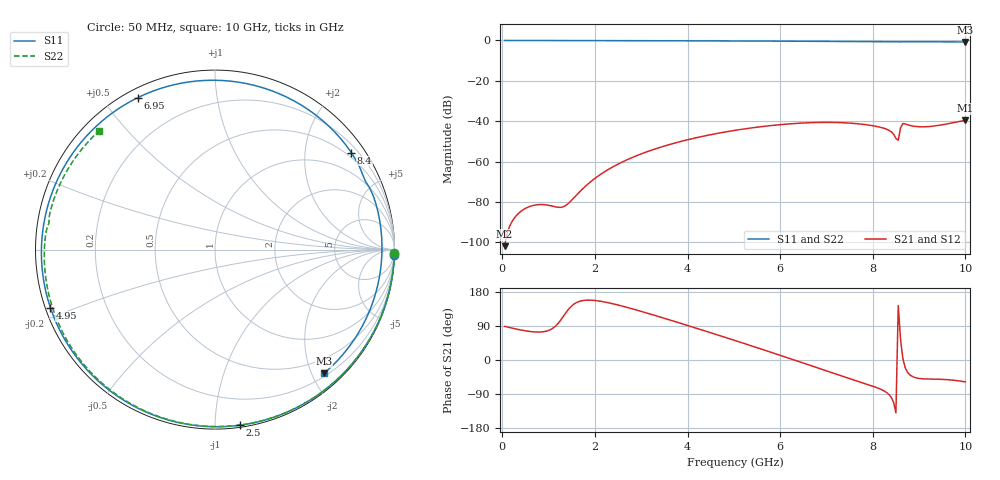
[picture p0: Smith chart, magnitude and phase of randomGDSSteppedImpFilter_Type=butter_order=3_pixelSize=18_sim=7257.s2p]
! freq	dB(S11)	phase(S11)	dB(S12)	phase(S12)
!  dB(S21)	phase(S21)	dB(S22)	phase(S22)
!S-par simulation data
#  GHz  S  DB  R 50
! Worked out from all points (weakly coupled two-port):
!   200 points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, 50 MHz to 10 GHz, reference 50 ohm
!   highest |S21| = -39.55 dB at 10 GHz (marker M1); lowest = -101.9 dB at 50 MHz (marker M2)
!   lowest |S11| = -0.7 dB at 10 GHz (marker M3), VSWR 23.59, Z = 12.4 - j110 ohm
!   |S11| at or under -10 dB: nowhere
!   |S22| runs from -0.7 to 0.0 dB; largest |S21 - S12| = 0
!   S11 on the Smith chart (normalised r, x): 50 MHz: 0, -67; 2.5 GHz: 0.01, -1.15; 4.95 GHz: 0.01, -0.17; 6.95 GHz: 0.04, +0.61; 8.4 GHz: 0.38, +3.09; 10 GHz: 0.25, -2.19
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0.05  -0.00 -1.7  -101.89 88.7  -101.89 88.7  -0.00 -1.2
0.7  -0.03 -23.5  -81.56 74.0  -81.56 74.0  -0.02 -16.9
1.45  -0.06 -48.2  -80.23 136.8  -80.23 136.8  -0.04 -34.7
1.75  -0.07 -58.0  -73.17 157.1  -73.17 157.1  -0.05 -41.6
2.5  -0.10 -81.9  -61.24 145.1  -61.24 145.1  -0.07 -58.8
3.4  -0.14 -110.1  -53.00 113.8  -53.00 113.8  -0.10 -78.6
4.15  -0.19 -133.9  -48.38 85.4  -48.38 85.4  -0.13 -94.6
4.95  -0.24 -160.5  -44.80 54.4  -44.80 54.4  -0.17 -111.3
5.05  -0.25 -164.0  -44.43 50.4  -44.43 50.4  -0.17 -113.3
5.9  -0.33 164.2  -41.93 16.5  -41.93 16.5  -0.22 -130.7
6.7  -0.42 129.1  -40.69 -16.3  -40.69 -16.3  -0.29 -147.2
6.95  -0.45 116.9  -40.57 -26.7  -40.57 -26.7  -0.31 -152.4
7.3  -0.49 98.7  -40.69 -41.1  -40.69 -41.1  -0.34 -159.9
7.65  -0.52 79.3  -41.20 -55.1  -41.20 -55.1  -0.38 -167.5
8  -0.56 59.1  -42.24 -69.2  -42.24 -69.2  -0.41 -175.2
8.35  -0.60 38.4  -44.51 -91.1  -44.51 -91.1  -0.46 176.7
8.4  -0.61 35.4  -45.26 -98.8  -45.26 -98.8  -0.47 175.5
8.55  -0.70 26.7  -49.46 143.7  -49.46 143.7  -0.54 171.8
8.6  -0.72 24.4  -43.26 54.5  -43.26 54.5  -0.57 170.9
8.65  -0.65 21.7  -41.15 3.6  -41.15 3.6  -0.54 170.0
9.25  -0.65 -12.1  -42.58 -50.4  -42.58 -50.4  -0.57 154.8
10  -0.74 -48.6  -39.55 -57.6  -39.55 -57.6  -0.68 134.4
